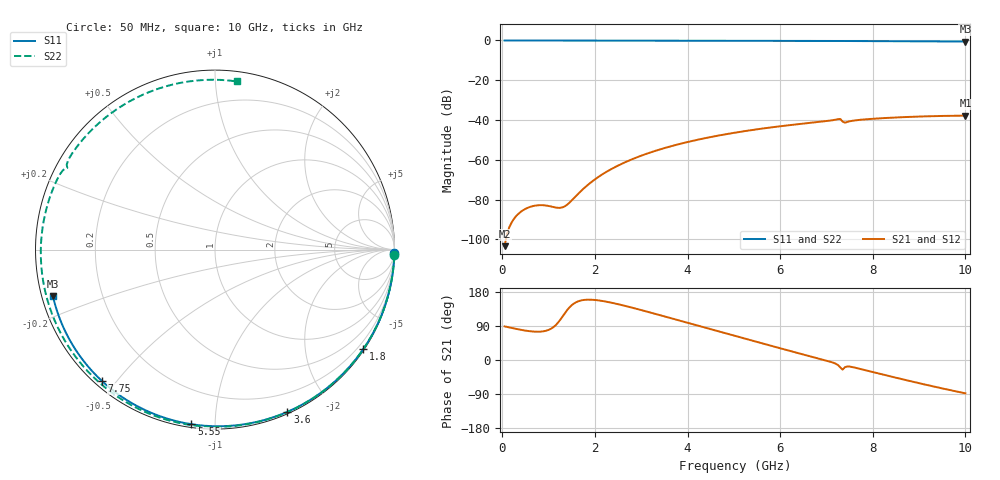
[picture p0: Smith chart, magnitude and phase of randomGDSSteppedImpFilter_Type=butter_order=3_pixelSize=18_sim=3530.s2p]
! freq	dB(S11)	phase(S11)	dB(S12)	phase(S12)
!  dB(S21)	phase(S21)	dB(S22)	phase(S22)
!S-par simulation data
#  GHz  S  DB  R 50
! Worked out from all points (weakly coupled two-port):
!   200 points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, 50 MHz to 10 GHz, reference 50 ohm
!   highest |S21| = -37.81 dB at 10 GHz (marker M1); lowest = -103.5 dB at 50 MHz (marker M2)
!   lowest |S11| = -0.5 dB at 10 GHz (marker M3), VSWR 32.08, Z = 1.59 - j7.04 ohm
!   |S11| at or under -10 dB: nowhere
!   |S22| runs from -0.5 to 0.0 dB; largest |S21 - S12| = 0
!   S11 on the Smith chart (normalised r, x): 50 MHz: open; 1.8 GHz: 0.03, -3.28; 3.6 GHz: 0.02, -1.54; 5.55 GHz: 0.02, -0.87; 7.75 GHz: 0.02, -0.46; 10 GHz: 0.03, -0.14
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0.05  -0.00 -1.0  -103.46 88.6  -103.46 88.6  -0.00 -1.9
0.7  -0.02 -13.4  -83.10 74.8  -83.10 74.8  -0.03 -25.8
1.1  -0.03 -20.9  -83.75 86.4  -83.75 86.4  -0.05 -40.2
1.5  -0.04 -28.4  -80.45 144.7  -80.45 144.7  -0.07 -54.1
1.75  -0.04 -33.0  -74.63 158.2  -74.63 158.2  -0.08 -62.5
1.8  -0.04 -33.9  -73.58 158.9  -73.58 158.9  -0.08 -64.2
2.1  -0.05 -39.4  -68.24 156.9  -68.24 156.9  -0.09 -73.9
2.45  -0.06 -45.8  -63.51 148.7  -63.51 148.7  -0.10 -84.9
2.9  -0.07 -53.8  -58.84 135.0  -58.84 135.0  -0.12 -98.4
3.4  -0.08 -62.5  -54.84 118.5  -54.84 118.5  -0.13 -112.5
3.6  -0.09 -65.9  -53.48 111.7  -53.48 111.7  -0.14 -118.0
4.35  -0.11 -78.5  -49.28 86.1  -49.28 86.1  -0.17 -137.6
5.05  -0.14 -89.9  -46.28 62.5  -46.28 62.5  -0.20 -154.9
5.55  -0.16 -97.7  -44.52 45.8  -44.52 45.8  -0.23 -166.9
6.1  -0.19 -106.2  -42.87 27.7  -42.87 27.7  -0.26 -179.8
6.7  -0.22 -115.3  -41.32 8.2  -41.32 8.2  -0.30 166.0
7.3  -0.27 -124.2  -39.49 -20.0  -39.49 -20.0  -0.48 151.3
7.4  -0.28 -125.7  -41.37 -18.9  -41.37 -18.9  -0.43 150.2
7.75  -0.30 -130.8  -39.85 -24.2  -39.85 -24.2  -0.37 141.2
8.35  -0.36 -139.6  -38.91 -42.3  -38.91 -42.3  -0.40 126.2
9.2  -0.45 -152.1  -38.13 -66.8  -38.13 -66.8  -0.45 104.3
10  -0.54 -164.0  -37.81 -88.0  -37.81 -88.0  -0.49 82.6
